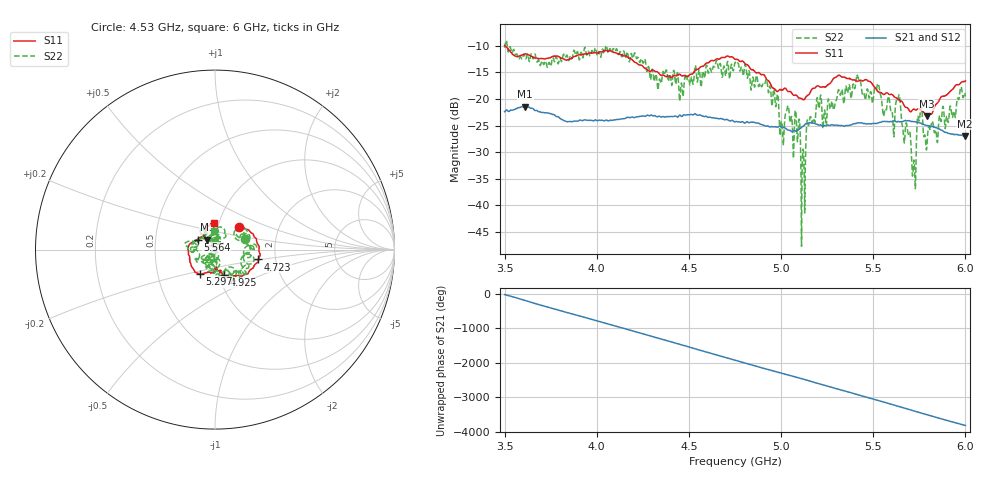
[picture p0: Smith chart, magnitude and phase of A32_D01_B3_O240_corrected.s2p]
! Created with skrf 1.9.0 (http://scikit-rf.org).
# Hz S RI R 50.0
!freq ReS11 ImS11 ReS21 ImS21 ReS12 ImS12 ReS22 ImS22
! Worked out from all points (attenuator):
!   1601 points, 3.5 GHz to 6 GHz, reference 50 ohm
!   highest |S21| = -21.42 dB at 3.611 GHz (marker M1); lowest = -27.0 dB at 5.997 GHz (marker M2)
!   lowest |S11| = -23.2 dB at 5.791 GHz (marker M3), VSWR 1.15, Z = 45.7 + j5 ohm
!   |S11| at or under -10 dB: 3.503 GHz to end of sweep
!   |S22| runs from -47.6 to -9.0 dB; largest |S21 - S12| = 0.0011
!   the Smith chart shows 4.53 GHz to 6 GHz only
!   S11 on the Smith chart (normalised r, x): 4.53 GHz: 1.25, +0.33; 4.723 GHz: 1.63, -0.19; 4.925 GHz: 1.06, -0.31; 5.297 GHz: 0.81, -0.22; 5.564 GHz: 0.82, +0.09; 6 GHz: 0.95, +0.29
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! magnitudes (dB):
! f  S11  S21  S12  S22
! 3.5 GHz  -9.9  -22.4  -22.4  -10.4
! 3.611 GHz  -11.5  -21.4  -21.4  -12.1
! 3.917 GHz  -11.7  -24.0  -24.0  -11.3
! 4.334 GHz  -15.1  -23.3  -23.2  -17.8
! 4.53 GHz  -14.8  -22.8  -22.8  -15.0
! 4.723 GHz  -12.1  -24.1  -24.1  -15.7
! 4.75 GHz  -12.5  -24.3  -24.2  -13.2
! 4.925 GHz  -16.4  -25.1  -25.1  -17.0
! 5.003 GHz  -18.3  -25.3  -25.3  -24.2
! 5.089 GHz  -19.5  -25.9  -25.9  -28.0
! 5.119 GHz  -20.1  -25.2  -25.1  -29.4
! 5.167 GHz  -18.2  -24.5  -24.5  -24.3
! 5.297 GHz  -15.9  -24.9  -24.9  -20.3
! 5.419 GHz  -16.6  -24.5  -24.5  -16.0
! 5.564 GHz  -19.0  -24.2  -24.2  -22.0
! 5.584 GHz  -19.1  -24.3  -24.3  -19.5
! 5.638 GHz  -20.1  -24.2  -24.2  -19.4
! 5.719 GHz  -21.9  -24.3  -24.2  -32.2
! 5.752 GHz  -21.9  -24.5  -24.4  -23.5
! 5.791 GHz  -23.2  -25.0  -24.9  -29.1
! 5.997 GHz  -16.7  -27.0  -26.9  -18.9
! 6 GHz  -16.6  -27.0  -26.9  -19.5
